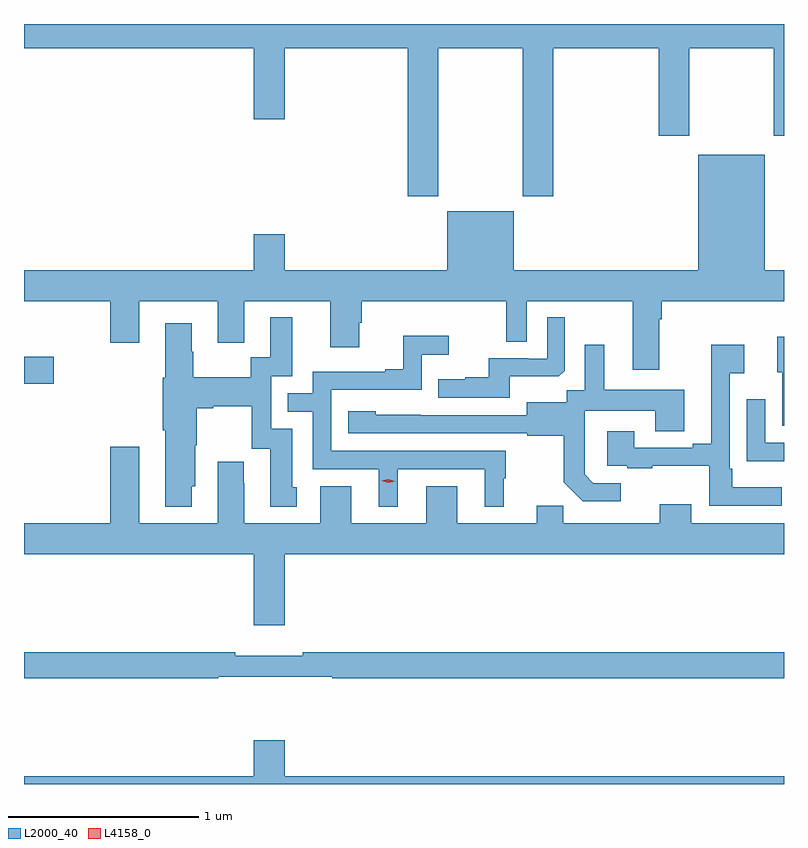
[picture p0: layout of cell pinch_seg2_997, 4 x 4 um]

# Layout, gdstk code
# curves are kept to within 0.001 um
import gdstk
lib = gdstk.Library(unit=1e-6, precision=1e-09)
def R(c, l, rs):  # rectangles x0, y0, x1, y1
    for r in rs: c.add(gdstk.rectangle(r[:2], r[2:], *l))
def P(c, l, *ps):  # polygons
    for p in ps: c.add(gdstk.Polygon(p, *l))
L2000_40 = (2000, 40)
L4158_0 = (4158, 0)

pinch_seg2_997 = lib.new_cell('pinch_seg2_997')
R(pinch_seg2_997, L2000_40, [(367.596,595.253,367.753,595.395)])
P(pinch_seg2_997, L2000_40, [(369.777,597.02),(370.222,597.02),(370.222,596.241),(370.382,596.241),(370.382,597.02),(370.937,597.02),(370.937,596.559),(371.097,596.559),(371.097,597.02),(371.542,597.02),(371.542,596.559),(371.596,596.559),(371.596,597.147),(367.596,597.147),(367.596,597.02),(368.804,597.02),(368.804,596.646),(368.968,596.646),(368.968,597.02),(369.617,597.02),(369.617,596.241),(369.777,596.241)],
  [(370.939,595.592),(370.952,595.592),(370.952,595.688),(371.596,595.688),(371.596,595.852),(371.494,595.852),(371.494,596.458),(371.144,596.458),(371.144,595.852),(370.174,595.852),(370.174,596.161),(369.824,596.161),(369.824,595.852),(368.968,595.852),(368.968,596.041),(368.804,596.041),(368.804,595.852),(367.596,595.852),(367.596,595.688),(368.051,595.688),(368.051,595.47),(368.203,595.47),(368.203,595.688),(368.615,595.688),(368.615,595.47),(368.755,595.47),(368.755,595.688),(369.209,595.688),(369.209,595.446),(369.361,595.446),(369.361,595.575),(369.374,595.575),(369.374,595.688),(370.134,595.688),(370.134,595.474),(370.242,595.474),(370.242,595.688),(370.799,595.688),(370.799,595.326),(370.939,595.326)],
  [(368.479,594.714),(368.497,594.714),(368.497,594.931),(368.505,594.931),(368.505,595.124),(368.593,595.124),(368.593,595.136),(368.795,595.136),(368.795,594.912),(368.891,594.912),(368.891,594.606),(369.031,594.606),(369.031,594.708),(369.007,594.708),(369.007,595.017),(368.898,595.017),(368.898,595.293),(369.007,595.293),(369.007,595.603),(368.891,595.603),(368.891,595.394),(368.79,595.394),(368.79,595.288),(368.487,595.288),(368.487,595.422),(368.479,595.422),(368.479,595.573),(368.339,595.573),(368.339,595.284),(368.327,595.284),(368.327,595.009),(368.339,595.009),(368.339,594.605),(368.479,594.605)],
  [(370.153,595.292),(370.411,595.292),(370.443,595.323),(370.443,595.603),(370.35,595.603),(370.35,595.386),(370.25,595.386),(370.25,595.389),(370.043,595.389),(370.043,595.288),(369.919,595.288),(369.919,595.276),(369.775,595.276),(369.775,595.179),(370.153,595.179)],
  [(369.562,594.804),(370.022,594.804),(370.022,594.605),(370.12,594.605),(370.12,594.756),(370.132,594.756),(370.132,594.9),(369.213,594.9),(369.213,595.221),(369.69,595.221),(369.69,595.406),(369.832,595.406),(369.832,595.505),(369.592,595.505),(369.592,595.33),(369.497,595.33),(369.497,595.317),(369.117,595.317),(369.117,595.203),(368.983,595.203),(368.983,595.107),(369.117,595.107),(369.117,594.804),(369.464,594.804),(369.464,594.605),(369.562,594.605)],
  [(371.596,595.502),(371.561,595.502),(371.561,595.314),(371.586,595.314),(371.586,595.032),(371.596,595.032)],
  [(371.584,594.709),(371.323,594.709),(371.323,594.805),(371.31,594.805),(371.31,595.31),(371.386,595.31),(371.386,595.459),(371.213,595.459),(371.213,594.937),(371.117,594.937),(371.117,594.918),(370.807,594.918),(370.807,595.003),(370.667,595.003),(370.667,594.822),(370.771,594.822),(370.771,594.81),(370.903,594.81),(370.903,594.821),(371.202,594.821),(371.202,594.612),(371.584,594.612)],
  [(370.738,594.729),(370.593,594.729),(370.546,594.776),(370.546,594.871),(370.548,594.871),(370.548,595.112),(370.919,595.112),(370.919,595.003),(371.071,595.003),(371.071,595.222),(370.651,595.222),(370.651,595.459),(370.547,595.459),(370.547,595.22),(370.452,595.22),(370.452,595.156),(370.241,595.156),(370.241,595.089),(369.447,595.09),(369.447,595.108),(369.303,595.108),(369.303,594.993),(370.245,594.993),(370.245,594.981),(370.437,594.981),(370.437,594.735),(370.537,594.635),(370.738,594.635)],
  [(371.596,594.942),(371.496,594.942),(371.496,595.171),(371.4,595.171),(371.4,594.845),(371.596,594.845)],
  [(368.968,594.356),(371.596,594.356),(371.596,594.52),(371.107,594.52),(371.107,594.619),(370.943,594.619),(370.943,594.52),(370.433,594.52),(370.433,594.611),(370.295,594.611),(370.295,594.52),(369.877,594.52),(369.877,594.715),(369.713,594.715),(369.713,594.52),(369.319,594.52),(369.319,594.715),(369.155,594.715),(369.155,594.52),(368.755,594.52),(368.755,594.731),(368.752,594.731),(368.752,594.844),(368.615,594.844),(368.615,594.52),(368.203,594.52),(368.203,594.922),(368.051,594.922),(368.051,594.52),(367.596,594.52),(367.596,594.356),(368.804,594.356),(368.804,593.982),(368.968,593.982)],
  [(368.618,593.712),(369.218,593.712),(369.218,593.704),(371.596,593.704),(371.596,593.84),(369.064,593.84),(369.064,593.821),(368.708,593.821),(368.708,593.84),(367.596,593.84),(367.596,593.704),(368.618,593.704)],
  [(371.596,593.188),(368.968,593.188),(368.968,593.377),(368.804,593.377),(368.804,593.188),(367.596,593.188),(367.596,593.147),(371.596,593.147)])
P(pinch_seg2_997, L4158_0, [(369.513,594.732),(369.478,594.743),(369.477,594.744),(369.478,594.744),(369.513,594.752),(369.548,594.741),(369.549,594.741),(369.548,594.741)])

lib.write_gds('pinch_seg2_997.gds')
